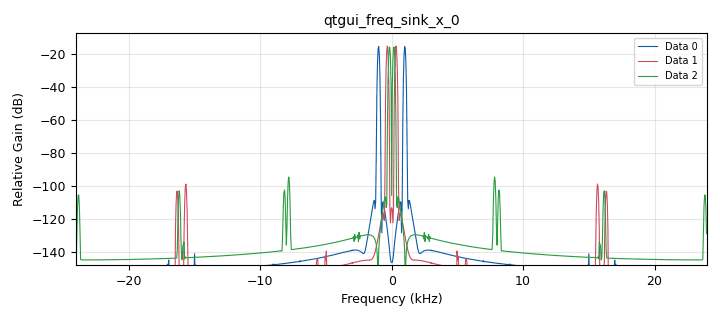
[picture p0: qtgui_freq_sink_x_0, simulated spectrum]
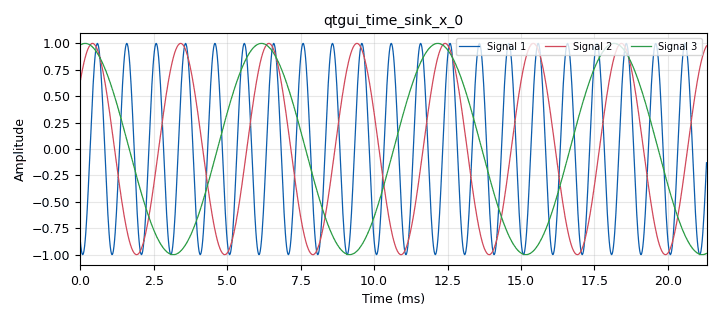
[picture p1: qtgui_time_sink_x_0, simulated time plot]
options:
  parameters:
    author: Luis Sanchez y Sofía Valero
    copyright: UIS
    generate_options: qt_gui
    id: Punto2
    output_language: python
    title: Diezmado e interpolado
  states: {}

blocks:
- name: samp_rate
  id: variable
  parameters:
    value: '48000'
  states: {}
- name: analog_sig_source_x_0
  id: analog_sig_source_x
  parameters:
    amp: '1'
    freq: '1000'
    offset: '0'
    phase: '0'
    samp_rate: samp_rate
    type: float
    waveform: analog.GR_COS_WAVE
  states: {}
- name: analog_sig_source_x_1
  id: analog_sig_source_x
  parameters:
    amp: '1'
    freq: '1000'
    offset: '0'
    phase: '0'
    samp_rate: samp_rate
    type: float
    waveform: analog.GR_COS_WAVE
  states: {}
- name: analog_sig_source_x_2
  id: analog_sig_source_x
  parameters:
    amp: '1'
    freq: '1000'
    offset: '0'
    phase: '0'
    samp_rate: samp_rate
    type: float
    waveform: analog.GR_COS_WAVE
  states: {}
- name: blocks_throttle_0
  id: blocks_throttle
  parameters:
    samples_per_second: samp_rate
    type: float
  states: {}
- name: qtgui_freq_sink_x_0
  id: qtgui_freq_sink_x
  parameters:
    autoscale: 'True'
    bw: samp_rate
    fc: '0'
    fftsize: '1024'
    nconnections: '3'
    type: float
    wintype: firdes.WIN_BLACKMAN_hARRIS
  states: {}
- name: qtgui_time_sink_x_0
  id: qtgui_time_sink_x
  parameters:
    autoscale: 'True'
    nconnections: '3'
    size: '1024'
    srate: samp_rate
    type: float
  states: {}
- name: rational_resampler_xxx_0
  id: rational_resampler_xxx
  parameters:
    decim: '1'
    fbw: '0.1'
    interp: '1'
    taps: ''
    type: fff
  states: {}
- name: rational_resampler_xxx_1
  id: rational_resampler_xxx
  parameters:
    decim: '1'
    fbw: '0.1'
    interp: '3'
    taps: ''
    type: fff
  states: {}
- name: rational_resampler_xxx_2
  id: rational_resampler_xxx
  parameters:
    decim: '1'
    fbw: '0.1'
    interp: '6'
    taps: ''
    type: fff
  states: {}

connections:
- [analog_sig_source_x_0, '0', rational_resampler_xxx_1, '0']
- [analog_sig_source_x_1, '0', rational_resampler_xxx_0, '0']
- [analog_sig_source_x_2, '0', rational_resampler_xxx_2, '0']
- [blocks_throttle_0, '0', qtgui_freq_sink_x_0, '0']
- [blocks_throttle_0, '0', qtgui_time_sink_x_0, '0']
- [rational_resampler_xxx_0, '0', blocks_throttle_0, '0']
- [rational_resampler_xxx_1, '0', qtgui_freq_sink_x_0, '1']
- [rational_resampler_xxx_1, '0', qtgui_time_sink_x_0, '1']
- [rational_resampler_xxx_2, '0', qtgui_freq_sink_x_0, '2']
- [rational_resampler_xxx_2, '0', qtgui_time_sink_x_0, '2']

metadata:
  file_format: 1
